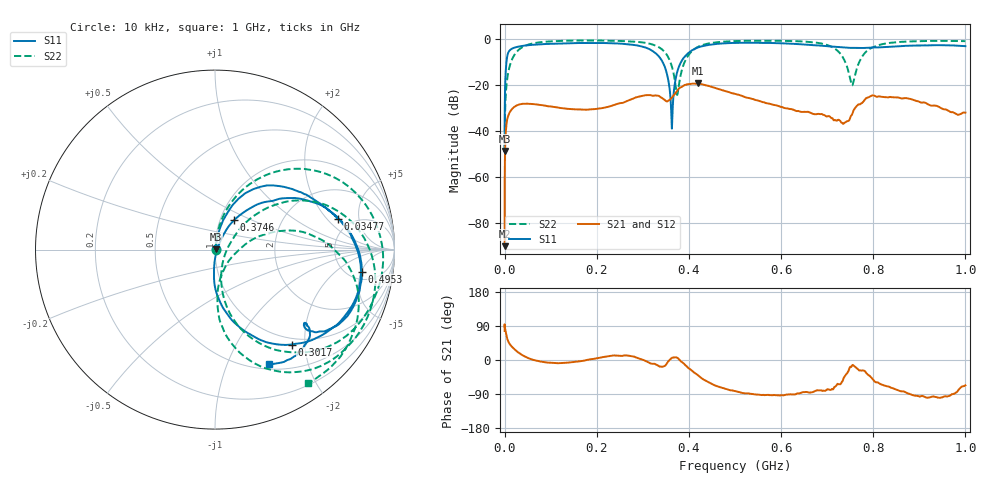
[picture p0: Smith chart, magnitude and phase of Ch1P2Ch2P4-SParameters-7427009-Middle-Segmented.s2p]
#  HZ  S  DB  R  50.00
! Rohde & Schwarz Vector Network Analyzer
! Rohde-Schwarz,ZNL6-2Port,1323001206101709,1.40.1.1-21.04.2.40
! Created: UTC 3/14/2023, 12:18:31 PM
! freq[Hz]  db:S11  ang:S11  db:S21  ang:S21  db:S12  ang:S12  db:S22  ang:S22
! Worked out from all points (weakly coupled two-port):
!   4997 points, 10 kHz to 1 GHz, reference 50 ohm
!   highest |S21| = -19.24 dB at 419.7 MHz (marker M1); lowest = -89.9 dB at 10.9 kHz (marker M2)
!   lowest |S11| = -48.5 dB at 10 kHz (marker M3), VSWR 1.01, Z = 50.3 + j0.157 ohm
!   |S11| at or under -10 dB: start of sweep to 3.989 MHz; 343.1 MHz to 382.8 MHz (39.62 MHz wide, 10.9 % of centre)
!   |S22| runs from -49.0 to -0.5 dB; largest |S21 - S12| = 0.0038
!   S11 on the Smith chart (normalised r, x): 10 kHz: 1.01, +0.00; 34.77 MHz: 3.89, +2.67; 301.7 MHz: 0.89, -1.74; 374.6 MHz: 1.17, +0.40; 495.3 MHz: 6.51, -5.18; 1 GHz: 0.56, -1.43
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10000  -48.51 24.5  -88.90 77.0  -89.08 87.9  -48.83 1.0
10900  -48.30 23.8  -89.91 94.2  -89.59 86.3  -48.83 0.9
101000  -39.32 64.6  -68.26 87.8  -67.92 89.1  -47.02 34.8
1010000  -21.26 78.4  -48.19 82.6  -48.25 83.1  -31.85 79.2
6219585  -6.91 52.1  -34.33 54.3  -34.35 54.0  -16.39 78.4
3.476811e7  -3.02 14.1  -28.21 15.9  -28.21 14.0  -3.94 45.1
1.668832e8  -1.64 -12.0  -30.54 -2.7  -30.56 -4.4  -0.55 -4.3
3.017072e8  -3.36 -51.1  -24.50 -0.2  -24.61 -1.6  -1.46 -38.5
3.333815e8  -7.15 -73.6  -24.54 -14.9  -24.56 -16.4  -3.32 -56.2
3.506773e8  -13.87 -90.3  -26.92 -11.7  -26.92 -12.6  -6.39 -71.0
3.625552e8  -37.10 -51.1  -25.48 5.1  -25.37 4.9  -11.55 -79.8
3.746414e8  -14.14 56.9  -22.34 6.0  -22.19 4.9  -24.19 -17.4
3.929792e8  -7.21 39.4  -19.81 -14.4  -19.89 -16.2  -8.96 39.2
4.196522e8  -3.57 20.3  -19.24 -40.2  -19.28 -41.7  -3.32 20.5
4.952954e8  -1.63 -8.6  -23.52 -80.8  -23.51 -82.0  -0.85 -10.0
5.000882e8  -1.61 -9.9  -23.72 -82.1  -23.71 -83.2  -0.81 -11.3
6.667949e8  -2.54 -37.7  -32.21 -85.6  -32.29 -86.9  -1.27 -50.0
7.243088e8  -3.43 -41.1  -34.98 -63.5  -35.01 -65.4  -5.35 -79.4
7.54316e8  -3.78 -39.9  -32.58 -14.3  -32.72 -17.0  -20.07 -33.9
7.826561e8  -3.76 -39.1  -25.99 -30.5  -26.19 -31.7  -5.78 10.5
8.335017e8  -3.33 -39.7  -25.21 -70.0  -25.28 -70.7  -1.66 -15.8
1e9  -3.02 -64.7  -31.88 -66.9  -31.90 -68.4  -0.85 -55.0
